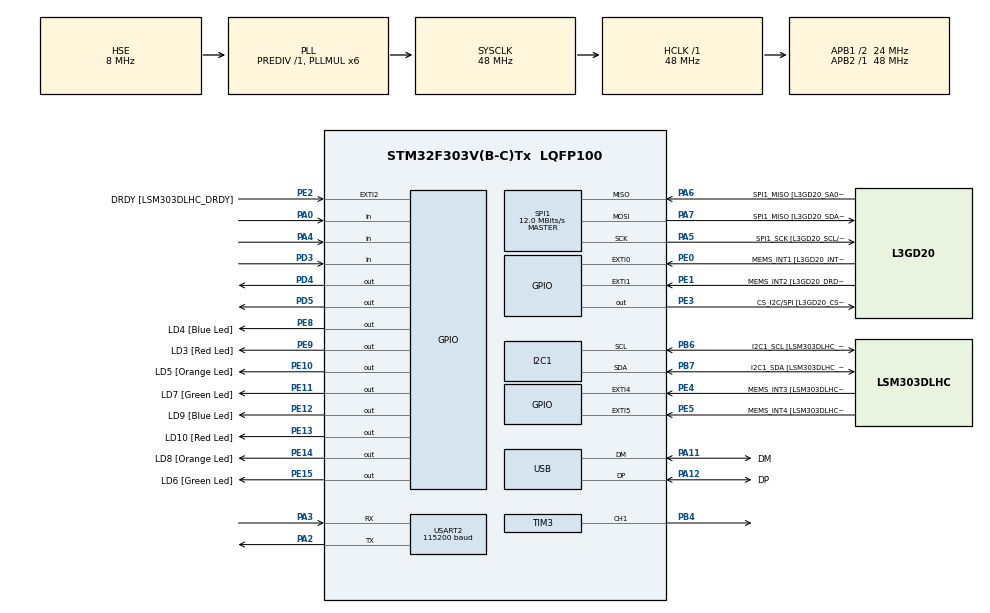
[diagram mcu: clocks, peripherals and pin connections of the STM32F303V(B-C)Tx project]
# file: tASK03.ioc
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I2C1.Timing=0x00201D2B
I2C1.Timing-I2C=0x2000090E
Mcu.Family=STM32F3
Mcu.Name=STM32F303V(B-C)Tx
Mcu.Package=LQFP100
NVIC.PriorityGroup=NVIC_PRIORITYGROUP_0
NVIC.TIM3_IRQn=true\:0\:0\:false\:false\:true\:true\:true\:true
PA0.Signal=GPIO_Input
PA11.GPIO_Label=DM
PA11.Mode=Device
PA11.Signal=USB_DM
PA12.GPIO_Label=DP
PA12.Mode=Device
PA12.Signal=USB_DP
PA13.GPIO_Label=SWDIO
PA13.Mode=Serial_Wire
PA13.Signal=SYS_JTMS-SWDIO
PA14.GPIO_Label=SWCLK
PA14.Mode=Serial_Wire
PA14.Signal=SYS_JTCK-SWCLK
PA2.Mode=Asynchronous
PA2.Signal=USART2_TX
PA3.Mode=Asynchronous
PA3.Signal=USART2_RX
PA4.Signal=GPIO_Input
PA5.GPIO_Label=SPI1_SCK [L3GD20_SCL/SPC]
PA5.Mode=Full_Duplex_Master
PA5.Signal=SPI1_SCK
PA6.GPIO_Label=SPI1_MISO [L3GD20_SA0/SDO]
PA6.Mode=Full_Duplex_Master
PA6.Signal=SPI1_MISO
PA7.GPIO_Label=SPI1_MISO [L3GD20_SDA/SDI/SDO]
PA7.Mode=Full_Duplex_Master
PA7.Signal=SPI1_MOSI
PB3.GPIO_Label=SWO
PB3.Signal=SYS_JTDO-TRACESWO
PB4.GPIO_PuPd=GPIO_PULLUP
PB4.Signal=S_TIM3_CH1
PB6.GPIO_Label=I2C1_SCL [LSM303DLHC_SCL]
PB6.GPIO_Pu=GPIO_PULLUP
PB6.Mode=I2C
PB6.Signal=I2C1_SCL
PB7.GPIO_Label=I2C1_SDA [LSM303DLHC_SDA]
PB7.GPIO_Pu=GPIO_PULLUP
PB7.Mode=I2C
PB7.Signal=I2C1_SDA
PC14-OSC32_IN.GPIO_Label=OSC32_IN
PC14-OSC32_IN.Signal=RCC_OSC32_IN
PC15-OSC32_OUT.GPIO_Label=OSC32_OUT
PC15-OSC32_OUT.Signal=RCC_OSC32_OUT
PD3.Signal=GPIO_Input
PD4.Signal=GPIO_Output
PD5.Signal=GPIO_Output
PE0.GPIO_Label=MEMS_INT1 [L3GD20_INT1]
PE0.GPIO_ModeDefaultEXTI=GPIO_MODE_EVT_RISING
PE0.Signal=GPXTI0
PE1.GPIO_Label=MEMS_INT2 [L3GD20_DRDY/INT2]
PE1.GPIO_ModeDefaultEXTI=GPIO_MODE_EVT_RISING
PE1.Signal=GPXTI1
PE10.GPIO_Label=LD5 [Orange Led]
PE10.Signal=GPIO_Output
PE11.GPIO_Label=LD7 [Green Led]
PE11.Signal=GPIO_Output
PE12.GPIO_Label=LD9 [Blue Led]
PE12.Signal=GPIO_Output
PE13.GPIO_Label=LD10 [Red Led]
PE13.Signal=GPIO_Output
PE14.GPIO_Label=LD8 [Orange Led]
PE14.Signal=GPIO_Output
PE15.GPIO_Label=LD6 [Green Led]
PE15.Signal=GPIO_Output
PE2.GPIO_Label=DRDY [LSM303DLHC_DRDY]
PE2.GPIO_ModeDefaultEXTI=GPIO_MODE_EVT_RISING
PE2.Signal=GPXTI2
PE3.GPIO_Label=CS_I2C/SPI [L3GD20_CS_I2C/SPI]
PE3.Signal=GPIO_Output
PE4.GPIO_Label=MEMS_INT3 [LSM303DLHC_INT1]
PE4.GPIO_ModeDefaultEXTI=GPIO_MODE_EVT_RISING
PE4.Signal=GPXTI4
PE5.GPIO_Label=MEMS_INT4 [LSM303DLHC_INT2]
PE5.GPIO_ModeDefaultEXTI=GPIO_MODE_EVT_RISING
PE5.Signal=GPXTI5
PE8.GPIO_Label=LD4 [Blue Led]
PE8.Signal=GPIO_Output
PE9.GPIO_Label=LD3 [Red Led]
PE9.Signal=GPIO_Output
PF0-OSC_IN.GPIO_Label=OSC_IN
PF0-OSC_IN.Mode=HSE-External-Clock-Source
PF0-OSC_IN.Signal=RCC_OSC_IN
PF1-OSC_OUT.GPIO_Label=OSC_OUT
PF1-OSC_OUT.Signal=RCC_OSC_OUT
ProjectManager.HeapSize=0x200
ProjectManager.StackSize=0x400
ProjectManager.TargetToolchain=CMake
RCC.AHBFreq_Value=48000000
RCC.APB1CLKDivider=RCC_HCLK_DIV2
RCC.APB1Freq_Value=24000000
RCC.APB1TimFreq_Value=48000000
RCC.APB2Freq_Value=48000000
RCC.APB2TimFreq_Value=48000000
RCC.CortexFreq_Value=48000000
RCC.HCLKFreq_Value=48000000
RCC.HSE_VALUE=8000000
RCC.HSI_VALUE=8000000
RCC.LSE_VALUE=32768
RCC.PLLMUL=RCC_PLL_MUL6
RCC.SYSCLKFreq_VALUE=48000000
RCC.SYSCLKSourceVirtual=RCC_SYSCLKSOURCE_PLLCLK
RCC.USBFreq_Value=48000000
SH.S_TIM3_CH1.0=TIM3_CH1,PWM Generation1 CH1
SPI1.BaudRatePrescaler=SPI_BAUDRATEPRESCALER_4
SPI1.BaudRatePrescaler-Full_Duplex_Master=SPI_BAUDRATEPRESCALER_2
SPI1.CalculateBaudRate=12.0 MBits/s
SPI1.CalculateBaudRate-Full_Duplex_Master=24.0 MBits/s
SPI1.Direction=SPI_DIRECTION_2LINES
SPI1.Mode=SPI_MODE_MASTER
SPI1.Mode-Full_Duplex_Master=SPI_MODE_MASTER
SPI1.VirtualType=VM_MASTER
TIM2.Prescaler=71
TIM3.Channel-PWM\ Generation1\ CH1=TIM_CHANNEL_1
TIM3.Period=999
TIM3.Prescaler=47
USART2.BaudRate=115200
USART2.VirtualMode-Asynchronous=VM_ASYNC
VP_TIM2_VS_ClockSourceINT.Mode=Internal
board=STM32F3DISCOVERY

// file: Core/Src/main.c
/* USER CODE BEGIN Header */
/**
  ******************************************************************************
  * @file           : main.c
  * @brief          : Main program body
  ******************************************************************************
  * @attention
  *
  * Copyright (c) 2026 STMicroelectronics.
  * All rights reserved.
  *
  * This software is licensed under terms that can be found in the LICENSE file
  * in the root directory of this software component.
  * If no LICENSE file comes with this software, it is provided AS-IS.
  *
  ******************************************************************************
  */
/* USER CODE END Header */
#include "main.h"
#include <string.h>
#include <stdio.h>
#include <stdlib.h>

I2C_HandleTypeDef hi2c1;

SPI_HandleTypeDef hspi1;

TIM_HandleTypeDef htim2;
TIM_HandleTypeDef htim3;

UART_HandleTypeDef huart2;

PCD_HandleTypeDef hpcd_USB_FS;

void SystemClock_Config(void);
static void MX_GPIO_Init(void);
static void MX_I2C1_Init(void);
static void MX_SPI1_Init(void);
static void MX_TIM3_Init(void);
static void MX_USART2_UART_Init(void);
static void MX_USB_PCD_Init(void);
static void MX_TIM2_Init(void);

/* USER CODE BEGIN 0 */
void forward_motor(){

    HAL_GPIO_WritePin(GPIOD, GPIO_PIN_4, GPIO_PIN_SET);
    HAL_GPIO_WritePin(GPIOD, GPIO_PIN_5, GPIO_PIN_RESET);

    uint32_t ARR = 999;
    __HAL_TIM_SET_COMPARE(&htim3, TIM_CHANNEL_1 , ARR);
  }
  void backward_motor(){
    HAL_GPIO_WritePin(GPIOD, GPIO_PIN_4, GPIO_PIN_RESET);
    HAL_GPIO_WritePin(GPIOD, GPIO_PIN_5, GPIO_PIN_SET);

    uint32_t ARR = 999;
    __HAL_TIM_SET_COMPARE(&htim3, TIM_CHANNEL_1 , ARR);
  }
/* USER CODE END 0 */

int main(void)
{

  /* MCU Configuration--------------------------------------------------------*/

  /* Reset of all peripherals, Initializes the Flash interface and the Systick. */
  HAL_Init();

  /* Configure the system clock */
  SystemClock_Config();

  /* Initialize all configured peripherals */
  MX_GPIO_Init();
  MX_I2C1_Init();
  MX_SPI1_Init();
  MX_TIM3_Init();
  MX_USART2_UART_Init();
  MX_USB_PCD_Init();
  MX_TIM2_Init();
  /* USER CODE BEGIN 2 */
  HAL_TIM_PWM_Start(&htim3, TIM_CHANNEL_1);
  HAL_TIM_IC_Start(&htim2, TIM_CHANNEL_1);
  forward_motor();
  /* USER CODE END 2 */

  /* Infinite loop */
  /* USER CODE BEGIN WHILE */
  /* USER CODE BEGIN WHILE */
  while (1)
  {
      // First Falling Edge
      while (HAL_GPIO_ReadPin(GPIOA, GPIO_PIN_4) == GPIO_PIN_RESET);  // wait high
      while (HAL_GPIO_ReadPin(GPIOA, GPIO_PIN_4) == GPIO_PIN_SET);    // wait falling

      uint32_t t1 = __HAL_TIM_GET_COUNTER(&htim2);

      // Second Falling Edge
      while (HAL_GPIO_ReadPin(GPIOA, GPIO_PIN_4) == GPIO_PIN_RESET);  // wait high
      while (HAL_GPIO_ReadPin(GPIOA, GPIO_PIN_4) == GPIO_PIN_SET);    // wait falling
      uint32_t t2 = __HAL_TIM_GET_COUNTER(&htim2);

      // overflow handling
      uint32_t ticks = (t2 >= t1) ? (t2 - t1) : (0xFFFFFFFF - t1 + t2 + 1);

      if (ticks == 0) continue;
      float PPR = 330.0f; // Pulses Per Revolution
      float freq = 666666.0f / (float)ticks;
      float rpm  = (60.0f * freq) / PPR;
      char buf[50];
      int len = snprintf(buf, sizeof(buf), "Freq: %.2f Hz | RPM: %.2f\r\n", freq, rpm);
      HAL_UART_Transmit(&huart2, (uint8_t*)buf, len, HAL_MAX_DELAY);
  }
    /* USER CODE END WHILE */

  }

void SystemClock_Config(void)
{
  RCC_OscInitTypeDef RCC_OscInitStruct = {0};
  RCC_ClkInitTypeDef RCC_ClkInitStruct = {0};
  RCC_PeriphCLKInitTypeDef PeriphClkInit = {0};

  /** Initializes the RCC Oscillators according to the specified parameters
  * in the RCC_OscInitTypeDef structure.
  */
  RCC_OscInitStruct.OscillatorType = RCC_OSCILLATORTYPE_HSI|RCC_OSCILLATORTYPE_HSE;
  RCC_OscInitStruct.HSEState = RCC_HSE_BYPASS;
  RCC_OscInitStruct.HSEPredivValue = RCC_HSE_PREDIV_DIV1;
  RCC_OscInitStruct.HSIState = RCC_HSI_ON;
  RCC_OscInitStruct.HSICalibrationValue = RCC_HSICALIBRATION_DEFAULT;
  RCC_OscInitStruct.PLL.PLLState = RCC_PLL_ON;
  RCC_OscInitStruct.PLL.PLLSource = RCC_PLLSOURCE_HSE;
  RCC_OscInitStruct.PLL.PLLMUL = RCC_PLL_MUL6;
  if (HAL_RCC_OscConfig(&RCC_OscInitStruct) != HAL_OK)
  {
    Error_Handler();
  }

  /** Initializes the CPU, AHB and APB buses clocks
  */
  RCC_ClkInitStruct.ClockType = RCC_CLOCKTYPE_HCLK|RCC_CLOCKTYPE_SYSCLK
                              |RCC_CLOCKTYPE_PCLK1|RCC_CLOCKTYPE_PCLK2;
  RCC_ClkInitStruct.SYSCLKSource = RCC_SYSCLKSOURCE_PLLCLK;
  RCC_ClkInitStruct.AHBCLKDivider = RCC_SYSCLK_DIV1;
  RCC_ClkInitStruct.APB1CLKDivider = RCC_HCLK_DIV2;
  RCC_ClkInitStruct.APB2CLKDivider = RCC_HCLK_DIV1;

  if (HAL_RCC_ClockConfig(&RCC_ClkInitStruct, FLASH_LATENCY_1) != HAL_OK)
  {
    Error_Handler();
  }
  PeriphClkInit.PeriphClockSelection = RCC_PERIPHCLK_USB|RCC_PERIPHCLK_USART2
                              |RCC_PERIPHCLK_I2C1;
  PeriphClkInit.Usart2ClockSelection = RCC_USART2CLKSOURCE_PCLK1;
  PeriphClkInit.I2c1ClockSelection = RCC_I2C1CLKSOURCE_HSI;
  PeriphClkInit.USBClockSelection = RCC_USBCLKSOURCE_PLL;
  if (HAL_RCCEx_PeriphCLKConfig(&PeriphClkInit) != HAL_OK)
  {
    Error_Handler();
  }
}

static void MX_I2C1_Init(void)
{

  hi2c1.Instance = I2C1;
  hi2c1.Init.Timing = 0x00201D2B;
  hi2c1.Init.OwnAddress1 = 0;
  hi2c1.Init.AddressingMode = I2C_ADDRESSINGMODE_7BIT;
  hi2c1.Init.DualAddressMode = I2C_DUALADDRESS_DISABLE;
  hi2c1.Init.OwnAddress2 = 0;
  hi2c1.Init.OwnAddress2Masks = I2C_OA2_NOMASK;
  hi2c1.Init.GeneralCallMode = I2C_GENERALCALL_DISABLE;
  hi2c1.Init.NoStretchMode = I2C_NOSTRETCH_DISABLE;
  if (HAL_I2C_Init(&hi2c1) != HAL_OK)
  {
    Error_Handler();
  }

  /** Configure Analogue filter
  */
  if (HAL_I2CEx_ConfigAnalogFilter(&hi2c1, I2C_ANALOGFILTER_ENABLE) != HAL_OK)
  {
    Error_Handler();
  }

  /** Configure Digital filter
  */
  if (HAL_I2CEx_ConfigDigitalFilter(&hi2c1, 0) != HAL_OK)
  {
    Error_Handler();
  }

}

static void MX_SPI1_Init(void)
{

  /* SPI1 parameter configuration*/
  hspi1.Instance = SPI1;
  hspi1.Init.Mode = SPI_MODE_MASTER;
  hspi1.Init.Direction = SPI_DIRECTION_2LINES;
  hspi1.Init.DataSize = SPI_DATASIZE_4BIT;
  hspi1.Init.CLKPolarity = SPI_POLARITY_LOW;
  hspi1.Init.CLKPhase = SPI_PHASE_1EDGE;
  hspi1.Init.NSS = SPI_NSS_SOFT;
  hspi1.Init.BaudRatePrescaler = SPI_BAUDRATEPRESCALER_4;
  hspi1.Init.FirstBit = SPI_FIRSTBIT_MSB;
  hspi1.Init.TIMode = SPI_TIMODE_DISABLE;
  hspi1.Init.CRCCalculation = SPI_CRCCALCULATION_DISABLE;
  hspi1.Init.CRCPolynomial = 7;
  hspi1.Init.CRCLength = SPI_CRC_LENGTH_DATASIZE;
  hspi1.Init.NSSPMode = SPI_NSS_PULSE_ENABLE;
  if (HAL_SPI_Init(&hspi1) != HAL_OK)
  {
    Error_Handler();
  }

}

static void MX_TIM2_Init(void)
{

  TIM_ClockConfigTypeDef sClockSourceConfig = {0};
  TIM_MasterConfigTypeDef sMasterConfig = {0};

  htim2.Instance = TIM2;
  htim2.Init.Prescaler = 71;
  htim2.Init.CounterMode = TIM_COUNTERMODE_UP;
  htim2.Init.Period = 4294967295;
  htim2.Init.ClockDivision = TIM_CLOCKDIVISION_DIV1;
  htim2.Init.AutoReloadPreload = TIM_AUTORELOAD_PRELOAD_DISABLE;
  if (HAL_TIM_Base_Init(&htim2) != HAL_OK)
  {
    Error_Handler();
  }
  sClockSourceConfig.ClockSource = TIM_CLOCKSOURCE_INTERNAL;
  if (HAL_TIM_ConfigClockSource(&htim2, &sClockSourceConfig) != HAL_OK)
  {
    Error_Handler();
  }
  sMasterConfig.MasterOutputTrigger = TIM_TRGO_RESET;
  sMasterConfig.MasterSlaveMode = TIM_MASTERSLAVEMODE_DISABLE;
  if (HAL_TIMEx_MasterConfigSynchronization(&htim2, &sMasterConfig) != HAL_OK)
  {
    Error_Handler();
  }

}

static void MX_TIM3_Init(void)
{

  TIM_MasterConfigTypeDef sMasterConfig = {0};
  TIM_OC_InitTypeDef sConfigOC = {0};

  htim3.Instance = TIM3;
  htim3.Init.Prescaler = 47;
  htim3.Init.CounterMode = TIM_COUNTERMODE_UP;
  htim3.Init.Period = 999;
  htim3.Init.ClockDivision = TIM_CLOCKDIVISION_DIV1;
  htim3.Init.AutoReloadPreload = TIM_AUTORELOAD_PRELOAD_DISABLE;
  if (HAL_TIM_PWM_Init(&htim3) != HAL_OK)
  {
    Error_Handler();
  }
  sMasterConfig.MasterOutputTrigger = TIM_TRGO_RESET;
  sMasterConfig.MasterSlaveMode = TIM_MASTERSLAVEMODE_DISABLE;
  if (HAL_TIMEx_MasterConfigSynchronization(&htim3, &sMasterConfig) != HAL_OK)
  {
    Error_Handler();
  }
  sConfigOC.OCMode = TIM_OCMODE_PWM1;
  sConfigOC.Pulse = 0;
  sConfigOC.OCPolarity = TIM_OCPOLARITY_HIGH;
  sConfigOC.OCFastMode = TIM_OCFAST_DISABLE;
  if (HAL_TIM_PWM_ConfigChannel(&htim3, &sConfigOC, TIM_CHANNEL_1) != HAL_OK)
  {
    Error_Handler();
  }
  HAL_TIM_MspPostInit(&htim3);

}

static void MX_USART2_UART_Init(void)
{

  huart2.Instance = USART2;
  huart2.Init.BaudRate = 115200;
  huart2.Init.WordLength = UART_WORDLENGTH_8B;
  huart2.Init.StopBits = UART_STOPBITS_1;
  huart2.Init.Parity = UART_PARITY_NONE;
  huart2.Init.Mode = UART_MODE_TX_RX;
  huart2.Init.HwFlowCtl = UART_HWCONTROL_NONE;
  huart2.Init.OverSampling = UART_OVERSAMPLING_16;
  huart2.Init.OneBitSampling = UART_ONE_BIT_SAMPLE_DISABLE;
  huart2.AdvancedInit.AdvFeatureInit = UART_ADVFEATURE_NO_INIT;
  if (HAL_UART_Init(&huart2) != HAL_OK)
  {
    Error_Handler();
  }

}

static void MX_USB_PCD_Init(void)
{

  hpcd_USB_FS.Instance = USB;
  hpcd_USB_FS.Init.dev_endpoints = 8;
  hpcd_USB_FS.Init.speed = PCD_SPEED_FULL;
  hpcd_USB_FS.Init.phy_itface = PCD_PHY_EMBEDDED;
  hpcd_USB_FS.Init.low_power_enable = DISABLE;
  hpcd_USB_FS.Init.battery_charging_enable = DISABLE;
  if (HAL_PCD_Init(&hpcd_USB_FS) != HAL_OK)
  {
    Error_Handler();
  }

}

static void MX_GPIO_Init(void)
{
  GPIO_InitTypeDef GPIO_InitStruct = {0};

  /* GPIO Ports Clock Enable */
  __HAL_RCC_GPIOE_CLK_ENABLE();
  __HAL_RCC_GPIOC_CLK_ENABLE();
  __HAL_RCC_GPIOF_CLK_ENABLE();
  __HAL_RCC_GPIOA_CLK_ENABLE();
  __HAL_RCC_GPIOD_CLK_ENABLE();
  __HAL_RCC_GPIOB_CLK_ENABLE();

  /*Configure GPIO pin Output Level */
  HAL_GPIO_WritePin(GPIOE, CS_I2C_SPI_Pin|LD4_Pin|LD3_Pin|LD5_Pin
                          |LD7_Pin|LD9_Pin|LD10_Pin|LD8_Pin
                          |LD6_Pin, GPIO_PIN_RESET);

  /*Configure GPIO pin Output Level */
  HAL_GPIO_WritePin(GPIOD, GPIO_PIN_4|GPIO_PIN_5, GPIO_PIN_RESET);

  /*Configure GPIO pins : DRDY_Pin MEMS_INT3_Pin MEMS_INT4_Pin MEMS_INT1_Pin
                           MEMS_INT2_Pin */
  GPIO_InitStruct.Pin = DRDY_Pin|MEMS_INT3_Pin|MEMS_INT4_Pin|MEMS_INT1_Pin
                          |MEMS_INT2_Pin;
  GPIO_InitStruct.Mode = GPIO_MODE_EVT_RISING;
  GPIO_InitStruct.Pull = GPIO_NOPULL;
  HAL_GPIO_Init(GPIOE, &GPIO_InitStruct);

  /*Configure GPIO pins : CS_I2C_SPI_Pin LD4_Pin LD3_Pin LD5_Pin
                           LD7_Pin LD9_Pin LD10_Pin LD8_Pin
                           LD6_Pin */
  GPIO_InitStruct.Pin = CS_I2C_SPI_Pin|LD4_Pin|LD3_Pin|LD5_Pin
                          |LD7_Pin|LD9_Pin|LD10_Pin|LD8_Pin
                          |LD6_Pin;
  GPIO_InitStruct.Mode = GPIO_MODE_OUTPUT_PP;
  GPIO_InitStruct.Pull = GPIO_NOPULL;
  GPIO_InitStruct.Speed = GPIO_SPEED_FREQ_LOW;
  HAL_GPIO_Init(GPIOE, &GPIO_InitStruct);

  /*Configure GPIO pins : PA0 PA4 */
  GPIO_InitStruct.Pin = GPIO_PIN_0|GPIO_PIN_4;
  GPIO_InitStruct.Mode = GPIO_MODE_INPUT;
  GPIO_InitStruct.Pull = GPIO_NOPULL;
  HAL_GPIO_Init(GPIOA, &GPIO_InitStruct);

  /*Configure GPIO pin : PD3 */
  GPIO_InitStruct.Pin = GPIO_PIN_3;
  GPIO_InitStruct.Mode = GPIO_MODE_INPUT;
  GPIO_InitStruct.Pull = GPIO_NOPULL;
  HAL_GPIO_Init(GPIOD, &GPIO_InitStruct);

  /*Configure GPIO pins : PD4 PD5 */
  GPIO_InitStruct.Pin = GPIO_PIN_4|GPIO_PIN_5;
  GPIO_InitStruct.Mode = GPIO_MODE_OUTPUT_PP;
  GPIO_InitStruct.Pull = GPIO_NOPULL;
  GPIO_InitStruct.Speed = GPIO_SPEED_FREQ_LOW;
  HAL_GPIO_Init(GPIOD, &GPIO_InitStruct);

}

void Error_Handler(void)
{
  __disable_irq();
  while (1)
  {
  }
}
